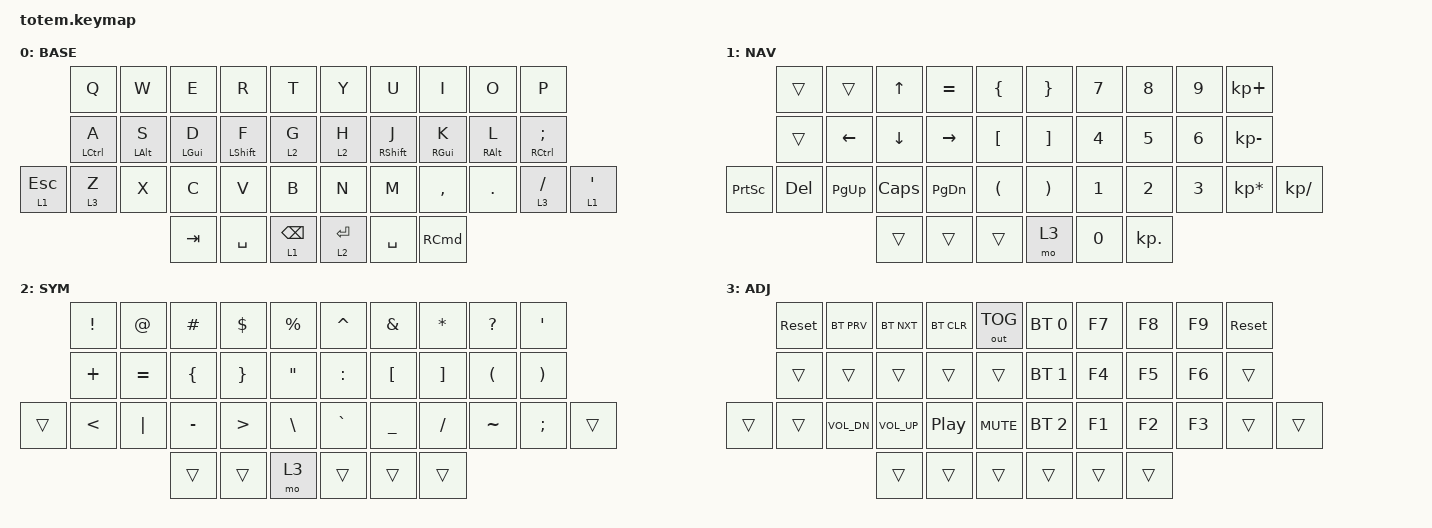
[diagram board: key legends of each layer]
#include <behaviors.dtsi>
#include <dt-bindings/zmk/bt.h>
#include <dt-bindings/zmk/keys.h>
#include <dt-bindings/zmk/outputs.h>

#define BASE 0
#define NAV  1
#define SYM  2
#define ADJ  3

&mt {
    quick-tap-ms = <100>;
    global-quick-tap;
    flavor = "tap-preferred";
    tapping-term-ms = <170>;
};

/ {
    combos {
        compatible = "zmk,combos";

        combo_esc {
            timeout-ms = <50>;
            key-positions = <0 1>;
            bindings = <&kp ESC>;
        };
    };

    behaviors {
        hm: homerow_mods {
            compatible = "zmk,behavior-hold-tap";
            label = "HOMEROW_MODS";
            bindings = <&kp>, <&kp>;

            #binding-cells = <2>;
            tapping-term-ms = <175>;
            quick-tap-ms = <150>;
            flavor = "tap-preferred";
        };

        okl: outer_key_layer {
            compatible = "zmk,behavior-hold-tap";
            label = "OUTER_KEY_LAYER";
            bindings = <&mo>, <&kp>;

            #binding-cells = <2>;
            tapping-term-ms = <175>;
            quick-tap-ms = <150>;
            flavor = "balanced";
        };
    };

    keymap {
        compatible = "zmk,keymap";

        base_layer {
            label = "BASE";
            bindings = <
            &kp Q        &kp W       &kp E       &kp R        &kp T          &kp Y         &kp U        &kp I       &kp O       &kp P
            &hm LCTRL A  &hm LALT S  &hm LGUI D  &hm LSHFT F  &okl 2 G       &okl 2 H      &hm RSHFT J  &hm RGUI K  &hm RALT L  &hm RCTRL SEMI
&okl 1 ESC  &okl 3 Z     &kp X       &kp C       &kp V        &kp B          &kp N         &kp M        &kp COMMA   &kp DOT     &okl 3 FSLH     &okl 1 SQT
                                     &kp TAB     &kp SPACE    &okl 1 BSPC    &okl 2 ENTER  &kp SPACE    &kp RCMD
            >;
        };

        nav_layer {
            label = "NAV";
            bindings = <
                 &trans   &trans     &kp UP    &kp EQUAL  &kp LBRC    &kp RBRC  &kp N7  &kp N8      &kp N9  &kp KP_PLUS
                 &trans   &kp LEFT   &kp DOWN  &kp RIGHT  &kp LBKT    &kp RBKT  &kp N4  &kp N5      &kp N6  &kp KP_MINUS
&kp PRINTSCREEN  &kp DEL  &kp PG_UP  &kp CAPS  &kp PG_DN  &kp LPAR    &kp RPAR  &kp N1  &kp N2      &kp N3  &kp KP_MULTIPLY  &kp KP_DIVIDE
                                     &trans    &trans     &trans      &mo 3     &kp N0  &kp KP_DOT
            >;
        };

        sim_layer {
            label = "SYM";
            bindings = <
        &kp EXCL       &kp AT     &kp HASH   &kp DLLR          &kp PRCNT        &kp CARET  &kp AMPS        &kp STAR   &kp QUESTION  &kp SINGLE_QUOTE
        &kp PLUS       &kp EQUAL  &kp LBRC   &kp RBRC          &kp DQT          &kp COLON  &kp LBKT        &kp RBKT   &kp LPAR      &kp RPAR
&trans  &kp LESS_THAN  &kp PIPE   &kp MINUS  &kp GREATER_THAN  &kp BACKSLASH    &kp GRAVE  &kp UNDERSCORE  &kp SLASH  &kp TILDE     &kp SEMICOLON     &trans
                                  &trans     &trans            &mo 3            &trans     &trans          &trans
            >;
        };

        adjust_layer {
            label = "ADJ";
            bindings = <
        &sys_reset  &bt BT_PRV    &bt BT_NXT    &bt BT_CLR  &out OUT_TOG    &bt BT_SEL 0  &kp F7  &kp F8  &kp F9  &sys_reset
        &trans      &trans        &trans        &trans      &trans          &bt BT_SEL 1  &kp F4  &kp F5  &kp F6  &trans
&trans  &trans      &kp C_VOL_DN  &kp C_VOL_UP  &kp C_PP    &kp C_MUTE      &bt BT_SEL 2  &kp F1  &kp F2  &kp F3  &trans      &trans
                                  &trans        &trans      &trans          &trans        &trans  &trans
            >;
        };
    };
};
